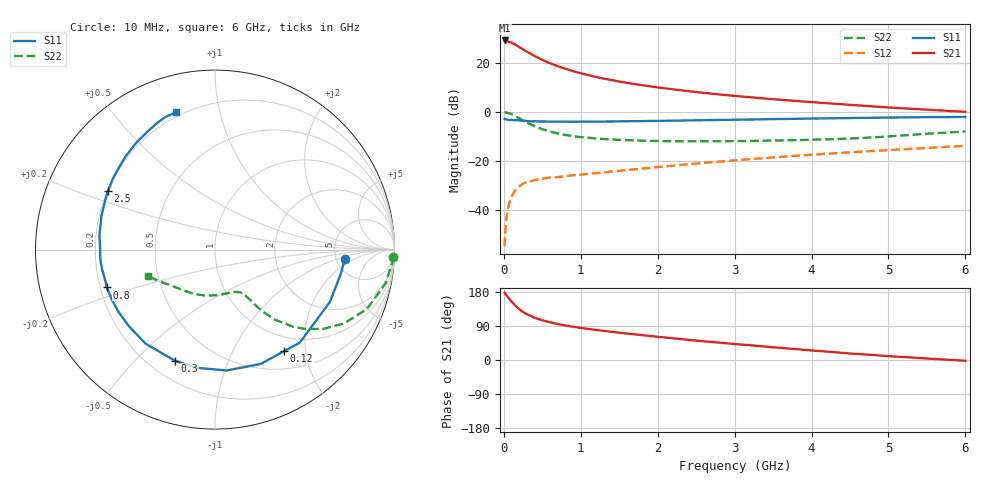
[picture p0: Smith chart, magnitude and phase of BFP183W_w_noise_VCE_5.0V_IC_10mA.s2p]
! Infineon Technologies  Discrete & RF Semiconductors
! BFP183W
! VCE =  5.0 V,  IC =  10 mA
! Common Emitter S-Parameters:  Jan 2017
# GHz  S  MA  R  50
!  f  S11  S21  S12  S22
! GHz  MAG  ANG  MAG  ANG  MAG  ANG  MAG  ANG
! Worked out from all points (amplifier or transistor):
!   77 points, 10 MHz to 6 GHz, reference 50 ohm
!   highest |S21| = 29.3 dB at 10 MHz (marker M1)
!   |S21| within 3 dB of that: start of sweep to 215.8 MHz
!   unconditionally stable (mu >= 1): 1.639 GHz to 3.915 GHz
!   at 130 MHz: K = 0.14, MSG = 30.5 dB, |S12| = -33.0 dB
!   at 2.2 GHz: K = 1.07, MAG = 14.0 dB, |S12| = -21.9 dB
!   at 6 GHz: K = 0.85, MSG = 7.0 dB, |S12| = -13.8 dB
!   lowest NFmin = 0.92 dB at 450 MHz
!   S11 on the Smith chart (normalised r, x): 10 MHz: 5.97, -1.37; 120 MHz: 0.76, -1.62; 300 MHz: 0.30, -0.66; 800 MHz: 0.23, -0.16; 2.5 GHz: 0.20, +0.25; 6 GHz: 0.18, +0.74
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0.01  0.7259 -4.3  29.32 178.0  0.0018 88.2  0.9927 -2.3
0.02  0.7134 -11.2  29.12 174.4  0.0038 87.3  0.9882 -4.7
0.05  0.7033 -24.6  28.28 166.6  0.0101 78.0  0.9689 -11.2
0.1  0.7013 -47.6  26.41 154.0  0.0184 69.7  0.9085 -21.4
0.12  0.6845 -55.7  25.34 149.9  0.021 64.9  0.874 -24.6
0.15  0.686 -68.2  24.01 143.2  0.0252 59.6  0.8279 -29.8
0.2  0.6767 -84.5  21.5 134.1  0.0298 54.0  0.7477 -36.2
0.25  0.6659 -98.5  19.24 126.6  0.0346 48.9  0.6742 -41.1
0.3  0.6583 -109.7  17.2 120.6  0.0368 45.1  0.6107 -44.7
0.4  0.6513 -126.5  14.07 111.4  0.0405 40.6  0.5145 -49.4
0.5  0.6419 -138.5  11.73 104.8  0.0433 38.6  0.4472 -51.9
0.6  0.6401 -147.5  10.03 99.4  0.0457 38.4  0.4001 -53.5
0.8  0.6385 -160.7  7.721 91.1  0.0488 39.5  0.3412 -55.0
0.9  0.6351 -165.7  6.892 87.7  0.051 39.5  0.3219 -55.8
1.1  0.6404 -173.7  5.705 82.0  0.0548 41.1  0.2984 -57.0
1.5  0.6476 173.8  4.228 72.1  0.063 44.5  0.2706 -61.0
2.1  0.6643 159.1  3.065 59.3  0.0774 48.2  0.2546 -70.8
2.5  0.6798 151.1  2.58 51.4  0.0886 49.4  0.2527 -79.5
3.1  0.7016 140.3  2.082 40.6  0.1057 49.5  0.2555 -93.3
4.1  0.7417 125.3  1.562 23.7  0.1371 47.6  0.2743 -117.8
5.1  0.777 114.0  1.22 9.0  0.1703 43.6  0.3252 -143.3
6  0.7952 105.7  1.014 -2.1  0.2036 38.6  0.4017 -158.6
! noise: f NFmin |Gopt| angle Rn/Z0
0.45  0.92  0.1  112  0.11
0.9  0.97  0.18  144  0.09
1.9  1.47  0.37  -176  0.07
2.4  1.72  0.44  -167  0.09
